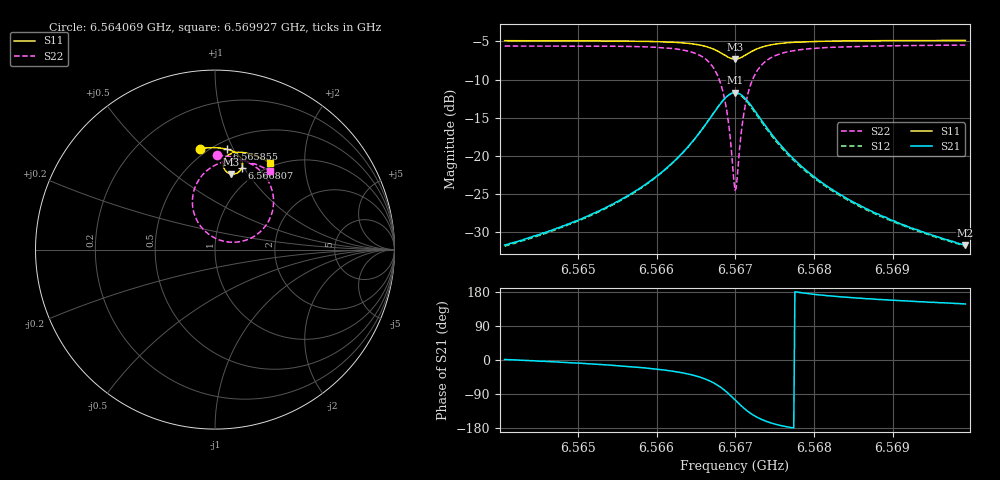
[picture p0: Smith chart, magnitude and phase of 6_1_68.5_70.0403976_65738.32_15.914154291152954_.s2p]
#  HZ  S  RI  R  50.00
! Rohde & Schwarz Vector Network Analyzer
! Rohde-Schwarz,ZNB20-2Port,1311601062101988,3.16
! Created: UTC 3/20/2024, 5:03:58 PM
! freq[Hz]  re:S11  im:S11  re:S21  im:S21  re:S12  im:S12  re:S22  im:S22
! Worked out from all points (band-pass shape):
!   401 points, 6.564069 GHz to 6.569927 GHz, reference 50 ohm
!   highest |S21| = -11.70 dB at 6.566998 GHz (marker M1); lowest = -31.7 dB at 6.569927 GHz (marker M2)
!   |S21| within 3 dB of the highest: 6.566705 GHz to 6.567291 GHz (585.8 kHz wide, 0.00892 % of centre)
!   lowest |S11| = -7.3 dB at 6.566998 GHz (marker M3), VSWR 2.51, Z = 40.3 + j41.8 ohm
!   |S11| at or under -10 dB: nowhere
!   |S22| runs from -24.5 to -5.5 dB; largest |S21 - S12| = 0.012
!   S11 on the Smith chart (normalised r, x): 6.564069 GHz: 0.45, +0.75; 6.565855 GHz: 0.58, +0.94; 6.566807 GHz: 0.83, +0.97; 6.569927 GHz: 0.94, +1.35
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6.5640685e9  -0.0849 0.5627  0.026 0.000678  0.0256 0.000182  0.0139 0.5247
6.5650498e9  -0.00573 0.568  0.0382 -0.00582  0.0377 -0.00649  0.1032 0.5147
6.5658553e9  0.0664 0.5594  0.0604 -0.0231  0.0595 -0.0238  0.1988 0.4787
6.566031e9  0.0841 0.5542  0.0686 -0.0316  0.0676 -0.0325  0.2255 0.4613
6.5663386e9  0.1179 0.5375  0.0875 -0.0595  0.086 -0.0607  0.2809 0.4062
6.5665582e9  0.1428 0.5123  0.1008 -0.1034  0.0987 -0.1052  0.3201 0.3219
6.5667047e9  0.1531 0.4819  0.0973 -0.1561  0.0934 -0.1588  0.3216 0.221
6.5668072e9  0.1485 0.4531  0.0717 -0.2057  0.0654 -0.2085  0.278 0.1275
6.5668951e9  0.1285 0.4295  0.0207 -0.2444  0.0114 -0.245  0.1857 0.0575
6.566983e9  0.0943 0.4207  -0.0549 -0.2537  -0.0653 -0.2494  0.051 0.0461
6.5669976e9  0.0882 0.4218  -0.068 -0.251  -0.0782 -0.2458  0.0282 0.0523
6.5670269e9  0.0764 0.4256  -0.093 -0.2413  -0.1024 -0.2344  -0.0145 0.0719
6.5670855e9  0.0578 0.4403  -0.134 -0.2102  -0.1405 -0.2007  -0.0812 0.1313
6.5671294e9  0.0493 0.4547  -0.1538 -0.1807  -0.1579 -0.1708  -0.1106 0.1851
6.567188e9  0.0455 0.4747  -0.1664 -0.1414  -0.1676 -0.1319  -0.1256 0.2552
6.5672612e9  0.0496 0.4962  -0.1664 -0.0994  -0.1652 -0.0912  -0.1174 0.3283
6.5673784e9  0.0654 0.5197  -0.1498 -0.053  -0.1473 -0.0473  -0.0777 0.4063
6.5675248e9  0.0885 0.5346  -0.1248 -0.0215  -0.1222 -0.0181  -0.0226 0.4571
6.5679789e9  0.1471 0.5421  -0.0741 0.00799  -0.0724 0.00917  0.0971 0.4963
6.5684768e9  0.1953 0.5326  -0.0487 0.0134  -0.0477 0.014  0.1733 0.4906
6.5689601e9  0.2349 0.5186  -0.0356 0.0143  -0.035 0.0145  0.2263 0.4755
6.5699267e9  0.3046 0.483  -0.0219 0.0138  -0.0216 0.0137  0.3062 0.4358
